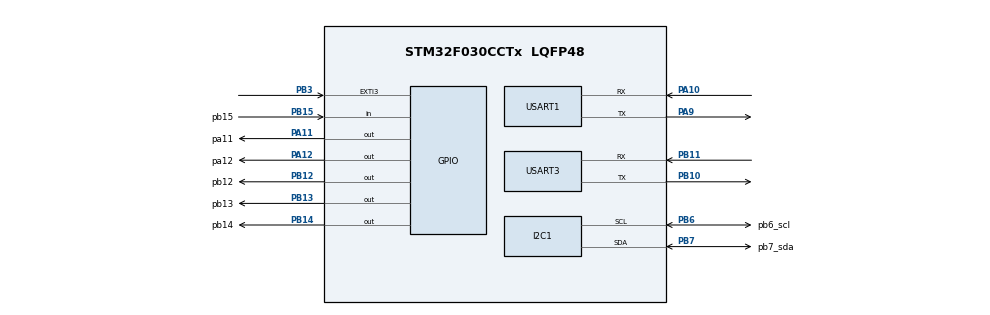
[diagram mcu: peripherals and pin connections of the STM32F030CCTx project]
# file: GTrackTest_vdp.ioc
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Mcu.Family=STM32F0
Mcu.Name=STM32F030CCTx
Mcu.Package=LQFP48
NVIC.I2C1_IRQn=true\:0\:0\:false\:false\:true\:true\:true\:true
NVIC.USART1_IRQn=true\:0\:0\:false\:false\:true\:true\:true\:true
NVIC.USART3_6_IRQn=true\:0\:0\:false\:false\:true\:true\:true\:true
PA10.Mode=Asynchronous
PA10.Signal=USART1_RX
PA11.GPIO_Label=pa11
PA11.Signal=GPIO_Output
PA12.GPIO_Label=pa12
PA12.Signal=GPIO_Output
PA13.Mode=Serial_Wire
PA13.Signal=SYS_SWDIO
PA14.Mode=Serial_Wire
PA14.Signal=SYS_SWCLK
PA9.Mode=Asynchronous
PA9.Signal=USART1_TX
PB10.Mode=Asynchronous
PB10.Signal=USART3_TX
PB11.Mode=Asynchronous
PB11.Signal=USART3_RX
PB12.GPIO_Label=pb12
PB12.Signal=GPIO_Output
PB13.GPIO_Label=pb13
PB13.Signal=GPIO_Output
PB14.GPIO_Label=pb14
PB14.Signal=GPIO_Output
PB15.GPIO_Label=pb15
PB15.Signal=GPIO_Input
PB3.Signal=GPXTI3
PB6.GPIO_Label=pb6_scl
PB6.Mode=I2C
PB6.Signal=I2C1_SCL
PB7.GPIO_Label=pb7_sda
PB7.Mode=I2C
PB7.Signal=I2C1_SDA
ProjectManager.HeapSize=0x200
ProjectManager.StackSize=0x400
ProjectManager.TargetToolchain=STM32CubeIDE
USART1.VirtualMode-Asynchronous=VM_ASYNC
USART3.VirtualMode-Asynchronous=VM_ASYNC
board=custom

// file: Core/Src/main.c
/* USER CODE BEGIN Header */
/**
  ******************************************************************************
  * @file           : main.c
  * @brief          : Main program body
  ******************************************************************************
  * @attention
  *
  * Copyright (c) 2023 STMicroelectronics.
  * All rights reserved.
  *
  * This software is licensed under terms that can be found in the LICENSE file
  * in the root directory of this software component.
  * If no LICENSE file comes with this software, it is provided AS-IS.
  *
  ******************************************************************************
  */
/* USER CODE END Header */
#include "main.h"
#include "MC60.h"
#include "BMA253.h"
#include "GNSS_data.h"

I2C_HandleTypeDef hi2c1;

UART_HandleTypeDef huart1;
UART_HandleTypeDef huart3;

/* USER CODE BEGIN PV */
uint8_t rx_buffer[1000];
uint8_t cmd[5];
const char respond[]= "commandReceived\n";
uint8_t dataReceived = 0;

uint8_t receiveCommand(){
	if(!strcmp(cmd, "GPSON")) return 1;
	if(!strcmp(cmd, "GPSVW")) return 2;
	if(!strcmp(cmd, "_TEST")) return 3;
	return 0;
}

void HAL_UART_RxCpltCallback(UART_HandleTypeDef *huart) {
	if(huart == &huart1){
//		dataReceived = 1;
		HAL_UART_Transmit_IT(&huart1, (uint8_t*)respond, sizeof(respond));
		HAL_GPIO_TogglePin(GPIOA, pa11_Pin);
	}
	if(huart == &huart3){
		HAL_GPIO_WritePin(GPIOA, pa11_Pin, 1);
	}
}
/* USER CODE END PV */

void SystemClock_Config(void);
static void MX_GPIO_Init(void);
static void MX_USART1_UART_Init(void);
static void MX_USART3_UART_Init(void);
static void MX_I2C1_Init(void);

int main(void)
{

  /* MCU Configuration--------------------------------------------------------*/

  /* Reset of all peripherals, Initializes the Flash interface and the Systick. */
  HAL_Init();

  /* Configure the system clock */
  SystemClock_Config();

  /* Initialize all configured peripherals */
  MX_GPIO_Init();
  MX_USART1_UART_Init();
  MX_USART3_UART_Init();
  MX_I2C1_Init();
  /* USER CODE BEGIN 2 */
//	HAL_GPIO_WritePin(GPIOB, pb12_Pin, 0);
//	HAL_Delay(100);
//	HAL_GPIO_WritePin(GPIOB, pb14_Pin, 1);
//	HAL_Delay(2000);
	MC60_PowerOn();
	HAL_GPIO_WritePin(GPIOB, pb13_Pin, 1);
	HAL_Delay(4000);
//	MC60_ATCommand_Write(&huart1, (uint8_t*)"AT+QGNSSC", "1");
// 10 minutes
	uint8_t tx_buffer_0[] = "AT+QIFGCNT=2\r\n";
	uint8_t tx_buffer_1[] = "AT+QICSGP=1,\"CMNET\"\r\n";
	uint8_t tx_buffer_2[] = "AT+CREG?;+CGREG?\r\n";
	uint8_t tx_buffer_3[] = "AT+QGNSSTS?\r\n";
	uint8_t tx_buffer_4[] = "AT+QGREFLOC=21.003189,105.507098\r\n";
	uint8_t tx_buffer_5[] = "AT+QGNSSEPO=1\r\n";
	uint8_t tx_buffer_6[] = "AT+QGNSSC=1\r\n";
	uint8_t tx_buffer_7[] = "AT+QGNSSRD?\r\n";

// Firmware
//	uint8_t tx_buffer_0[] = "ATE0\r\n";
//	uint8_t tx_buffer_1[] = "AT+CPIN?\r\n";
//	uint8_t tx_buffer_2[] = "AT+QIFGCNT=2\r\n";
//	uint8_t tx_buffer_3[] = "AT+QICSGP=1,\"v-internet\"\r\n";
//	uint8_t tx_buffer_4[] = "AT+CREG?;+CGREG?\r\n";
//	uint8_t tx_buffer_5[] = "AT+QNTP=\"time.google.com\"\r\n";
//	uint8_t tx_buffer_6[] = "AT+CCLK?\r\n";
//	uint8_t tx_buffer_7[] = "AT+QGREFLOC=21.014935,105.832585\r\n";
//	uint8_t tx_buffer_8[] = "AT+QGNSSEPO=1\r\n";
//	uint8_t tx_buffer_9[] = "AT+QGNSSC=1\r\n";
//	uint8_t tx_buffer_10[] = "AT+QGNSSRD?\r\n";

//	uint8_t tx_buffer_0[] = "AT+QMTOPEN=?\r\n";
//	uint8_t tx_buffer_1[] = "AT+QMTOPEN=0,\"mqtt://test.mosquitto.org:1883/\",1883\r\n";
//	//uint8_t tx_buffer_1[] = "AT+QMTOPEN=0,\"mqtt-dashboard.com\",8884\r\n";
//	uint8_t tx_buffer_2[] = "AT+QMTCONN=?\r\n";
//	uint8_t tx_buffer_3[] = "AT+QMTCONN=0,\"clientId-k3lyc9Czut\"\r\n";

	//uint8_t tx_buffer_4[] = "AT+QMTSUB=0,1,\"testtopic/1\",1\r\n";
	//uint8_t tx_buffer_5[] = "AT+QMTPUB=0,1,1,0,\"testtopic/1\",\"Hello World\"\r\n";

// SSL - Firmware
//	uint8_t tx_buffer_0[] = "ATE0\r\n";
//	uint8_t tx_buffer_1[] = "AT+QSECWRITE=\"RAM:ca_cert.pem\",1448,100 \r\n";
//	uint8_t tx_buffer_2[] = "AT+QIFGCNT=0\r\n";
//	uint8_t tx_buffer_3[] = "AT+QSSLCFG=\"ignorertctime\",1\r\n";
//	uint8_t tx_buffer_4[] = "AT+QSSLCFG=\"sslversion\",0,4\r\n";
//	uint8_t tx_buffer_5[] = "AT+QSSLCFG=\"ciphersuite\",0,\"0XFFFF\"\r\n";
//	uint8_t tx_buffer_6[] = "AT+QSSLCFG=\"seclevel\",0,1\r\n";
//	uint8_t tx_buffer_7[] = "AT+QSECREAD=\"RAM:ca_cert.pem\"\r\n";
//	uint8_t tx_buffer_8[] = "AT+QSSLCFG=\"cacert\",0,\"RAM:ca_cert.pem\"\r\n";
//	uint8_t tx_buffer_9[] = "AT+QSSLOPEN=1,0,\"test.mosquitto.org\",1883,0,90\r\n";

  /* USER CODE END 2 */

  /* Infinite loop */
  /* USER CODE BEGIN WHILE */

//		MC60_SendCommand(&huart3,(char*) tx_buffer_6);
	HAL_UART_Transmit_IT(&huart3,(uint8_t*)tx_buffer_6, sizeof(tx_buffer_6));
	HAL_Delay(200);
	HAL_UART_Receive_IT(&huart3,(uint8_t *)rx_buffer,sizeof(rx_buffer));
//	HAL_UART_Receive_IT(&huart3, rx_buffer, sizeof(rx_buffer));
  while (1)
  {
    /* USER CODE END WHILE */

    /* USER CODE BEGIN 3 */

			//UART_Receive(&huart1);
		HAL_Delay(1000);
//		HAL_UART_Transmit_IT(&huart3,(uint8_t*)tx_buffer_0, sizeof(tx_buffer_0));
//		HAL_Delay(200);
//		HAL_UART_Receive_IT(&huart3,(uint8_t *)rx_buffer,sizeof(rx_buffer));
//		HAL_UART_Transmit_IT(&huart3,(uint8_t*)tx_buffer_1, sizeof(tx_buffer_1));
//		HAL_Delay(200);
//		HAL_UART_Receive_IT(&huart3,(uint8_t *)rx_buffer,sizeof(rx_buffer));
//		HAL_UART_Transmit_IT(&huart3,(uint8_t*)tx_buffer_2, sizeof(tx_buffer_2));
//		HAL_Delay(200);
//		HAL_UART_Receive_IT(&huart3,(uint8_t *)rx_buffer,sizeof(rx_buffer));
//		HAL_UART_Transmit_IT(&huart3,(uint8_t*)tx_buffer_3, sizeof(tx_buffer_3));
//		HAL_Delay(200);
//		HAL_UART_Receive_IT(&huart3,(uint8_t *)rx_buffer,sizeof(rx_buffer));
//		HAL_UART_Transmit_IT(&huart3,(uint8_t*)tx_buffer_4, sizeof(tx_buffer_4));
//		HAL_Delay(200);
//		HAL_UART_Receive_IT(&huart3,(uint8_t *)rx_buffer,sizeof(rx_buffer));
//		HAL_UART_Transmit_IT(&huart3,(uint8_t*)tx_buffer_5, sizeof(tx_buffer_5));
//		HAL_Delay(200);
//		HAL_UART_Receive_IT(&huart3,(uint8_t *)rx_buffer,sizeof(rx_buffer));
//		HAL_UART_Transmit_IT(&huart3,(uint8_t*)tx_buffer_6, sizeof(tx_buffer_6));
//		HAL_Delay(200);
//		HAL_UART_Receive_IT(&huart3,(uint8_t *)rx_buffer,sizeof(rx_buffer));
//
//		HAL_UART_Transmit_IT(&huart3,(uint8_t*)tx_buffer_7, sizeof(tx_buffer_7));
//		HAL_Delay(200);
//		HAL_UART_Receive_IT(&huart3,(uint8_t *)rx_buffer,sizeof(rx_buffer));

	HAL_UART_Receive_IT(&huart1, cmd, sizeof(cmd));
//	if(dataReceived){
	uint8_t i;
	i = receiveCommand();
	switch(i){
		case 1:{
			MC60_GNSS_On(&huart3);
			HAL_Delay(200);
			HAL_UART_Transmit_IT(&huart1, "GNSSActivated\n" , sizeof("GNSSActivated\n"));
			break;
		}
		case 2:{
			MC60_Receive_NMEA(&huart3);
			MC60_View_NMEA(&huart1);
			//MC60_Get_Sentence_By_Header(&huart1);
			break;
		}
		case 3:{
			//HAL_UART_Transmit_IT(&huart1, "tested\n", sizeof("tested\n"));
//			MC60_ATCommand_Send(&huart3, "AT+QGNSSC?\r\n");
//			HAL_Delay(200);
//			HAL_UART_Receive_IT(&huart3, rxbuffer, sizeof(rxbuffer));
			MC60_Debug_test(&huart3, "AT+QGNSSC?\r\n");
			//HAL_Delay(200);

			MC60_test_view(&huart1);
			//HAL_UART_Transmit_IT(&huart1, (uint8_t*)rx_buffer, sizeof(rx_buffer));

			break;
	  }
		default:
			break;
	}
//			dataReceived = 0;
//}

		uint8_t read = HAL_GPIO_ReadPin(GPIOB, pb15_Pin);
		if (read == 0){
			HAL_GPIO_WritePin(GPIOA, pa11_Pin, 0);
			HAL_Delay(200);
			HAL_GPIO_WritePin(GPIOA, pa11_Pin, 1);
			HAL_Delay(200);
		}
		else if (read == 1){
		  HAL_GPIO_WritePin(GPIOA, pa12_Pin, 0);
			HAL_Delay(200);
			HAL_GPIO_WritePin(GPIOA, pa12_Pin, 1);
			HAL_Delay(200);
		}
  }
  /* USER CODE END 3 */
}

void SystemClock_Config(void)
{
  RCC_OscInitTypeDef RCC_OscInitStruct = {0};
  RCC_ClkInitTypeDef RCC_ClkInitStruct = {0};
  RCC_PeriphCLKInitTypeDef PeriphClkInit = {0};

  /** Initializes the RCC Oscillators according to the specified parameters
  * in the RCC_OscInitTypeDef structure.
  */
  RCC_OscInitStruct.OscillatorType = RCC_OSCILLATORTYPE_HSI;
  RCC_OscInitStruct.HSIState = RCC_HSI_ON;
  RCC_OscInitStruct.HSICalibrationValue = RCC_HSICALIBRATION_DEFAULT;
  RCC_OscInitStruct.PLL.PLLState = RCC_PLL_NONE;
  if (HAL_RCC_OscConfig(&RCC_OscInitStruct) != HAL_OK)
  {
    Error_Handler();
  }

  /** Initializes the CPU, AHB and APB buses clocks
  */
  RCC_ClkInitStruct.ClockType = RCC_CLOCKTYPE_HCLK|RCC_CLOCKTYPE_SYSCLK
                              |RCC_CLOCKTYPE_PCLK1;
  RCC_ClkInitStruct.SYSCLKSource = RCC_SYSCLKSOURCE_HSI;
  RCC_ClkInitStruct.AHBCLKDivider = RCC_SYSCLK_DIV1;
  RCC_ClkInitStruct.APB1CLKDivider = RCC_HCLK_DIV1;

  if (HAL_RCC_ClockConfig(&RCC_ClkInitStruct, FLASH_LATENCY_0) != HAL_OK)
  {
    Error_Handler();
  }
  PeriphClkInit.PeriphClockSelection = RCC_PERIPHCLK_USART1|RCC_PERIPHCLK_I2C1;
  PeriphClkInit.Usart1ClockSelection = RCC_USART1CLKSOURCE_PCLK1;
  PeriphClkInit.I2c1ClockSelection = RCC_I2C1CLKSOURCE_HSI;
  if (HAL_RCCEx_PeriphCLKConfig(&PeriphClkInit) != HAL_OK)
  {
    Error_Handler();
  }
}

static void MX_I2C1_Init(void)
{

  hi2c1.Instance = I2C1;
  hi2c1.Init.Timing = 0x2000090E;
  hi2c1.Init.OwnAddress1 = 0;
  hi2c1.Init.AddressingMode = I2C_ADDRESSINGMODE_7BIT;
  hi2c1.Init.DualAddressMode = I2C_DUALADDRESS_DISABLE;
  hi2c1.Init.OwnAddress2 = 0;
  hi2c1.Init.OwnAddress2Masks = I2C_OA2_NOMASK;
  hi2c1.Init.GeneralCallMode = I2C_GENERALCALL_DISABLE;
  hi2c1.Init.NoStretchMode = I2C_NOSTRETCH_DISABLE;
  if (HAL_I2C_Init(&hi2c1) != HAL_OK)
  {
    Error_Handler();
  }

  /** Configure Analogue filter
  */
  if (HAL_I2CEx_ConfigAnalogFilter(&hi2c1, I2C_ANALOGFILTER_ENABLE) != HAL_OK)
  {
    Error_Handler();
  }

  /** Configure Digital filter
  */
  if (HAL_I2CEx_ConfigDigitalFilter(&hi2c1, 0) != HAL_OK)
  {
    Error_Handler();
  }

}

static void MX_USART1_UART_Init(void)
{

  huart1.Instance = USART1;
  huart1.Init.BaudRate = 115200;
  huart1.Init.WordLength = UART_WORDLENGTH_8B;
  huart1.Init.StopBits = UART_STOPBITS_1;
  huart1.Init.Parity = UART_PARITY_NONE;
  huart1.Init.Mode = UART_MODE_TX_RX;
  huart1.Init.HwFlowCtl = UART_HWCONTROL_NONE;
  huart1.Init.OverSampling = UART_OVERSAMPLING_16;
  huart1.Init.OneBitSampling = UART_ONE_BIT_SAMPLE_DISABLE;
  huart1.AdvancedInit.AdvFeatureInit = UART_ADVFEATURE_NO_INIT;
  if (HAL_UART_Init(&huart1) != HAL_OK)
  {
    Error_Handler();
  }

}

static void MX_USART3_UART_Init(void)
{

  huart3.Instance = USART3;
  huart3.Init.BaudRate = 115200;
  huart3.Init.WordLength = UART_WORDLENGTH_8B;
  huart3.Init.StopBits = UART_STOPBITS_1;
  huart3.Init.Parity = UART_PARITY_NONE;
  huart3.Init.Mode = UART_MODE_TX_RX;
  huart3.Init.HwFlowCtl = UART_HWCONTROL_NONE;
  huart3.Init.OverSampling = UART_OVERSAMPLING_16;
  huart3.Init.OneBitSampling = UART_ONE_BIT_SAMPLE_DISABLE;
  huart3.AdvancedInit.AdvFeatureInit = UART_ADVFEATURE_NO_INIT;
  if (HAL_UART_Init(&huart3) != HAL_OK)
  {
    Error_Handler();
  }

}

static void MX_GPIO_Init(void)
{
  GPIO_InitTypeDef GPIO_InitStruct = {0};

  /* GPIO Ports Clock Enable */
  __HAL_RCC_GPIOB_CLK_ENABLE();
  __HAL_RCC_GPIOA_CLK_ENABLE();

  /*Configure GPIO pin Output Level */
  HAL_GPIO_WritePin(GPIOB, pb12_Pin|pb13_Pin|pb14_Pin, GPIO_PIN_RESET);

  /*Configure GPIO pin Output Level */
  HAL_GPIO_WritePin(GPIOA, pa11_Pin|pa12_Pin, GPIO_PIN_RESET);

  /*Configure GPIO pins : pb12_Pin pb13_Pin pb14_Pin */
  GPIO_InitStruct.Pin = pb12_Pin|pb13_Pin|pb14_Pin;
  GPIO_InitStruct.Mode = GPIO_MODE_OUTPUT_PP;
  GPIO_InitStruct.Pull = GPIO_NOPULL;
  GPIO_InitStruct.Speed = GPIO_SPEED_FREQ_LOW;
  HAL_GPIO_Init(GPIOB, &GPIO_InitStruct);

  /*Configure GPIO pin : pb15_Pin */
  GPIO_InitStruct.Pin = pb15_Pin;
  GPIO_InitStruct.Mode = GPIO_MODE_INPUT;
  GPIO_InitStruct.Pull = GPIO_NOPULL;
  HAL_GPIO_Init(pb15_GPIO_Port, &GPIO_InitStruct);

  /*Configure GPIO pins : pa11_Pin pa12_Pin */
  GPIO_InitStruct.Pin = pa11_Pin|pa12_Pin;
  GPIO_InitStruct.Mode = GPIO_MODE_OUTPUT_PP;
  GPIO_InitStruct.Pull = GPIO_NOPULL;
  GPIO_InitStruct.Speed = GPIO_SPEED_FREQ_LOW;
  HAL_GPIO_Init(GPIOA, &GPIO_InitStruct);

  /*Configure GPIO pin : PB3 */
  GPIO_InitStruct.Pin = GPIO_PIN_3;
  GPIO_InitStruct.Mode = GPIO_MODE_IT_RISING;
  GPIO_InitStruct.Pull = GPIO_NOPULL;
  HAL_GPIO_Init(GPIOB, &GPIO_InitStruct);

}

void Error_Handler(void)
{
  __disable_irq();
  while (1)
  {
  }
}
